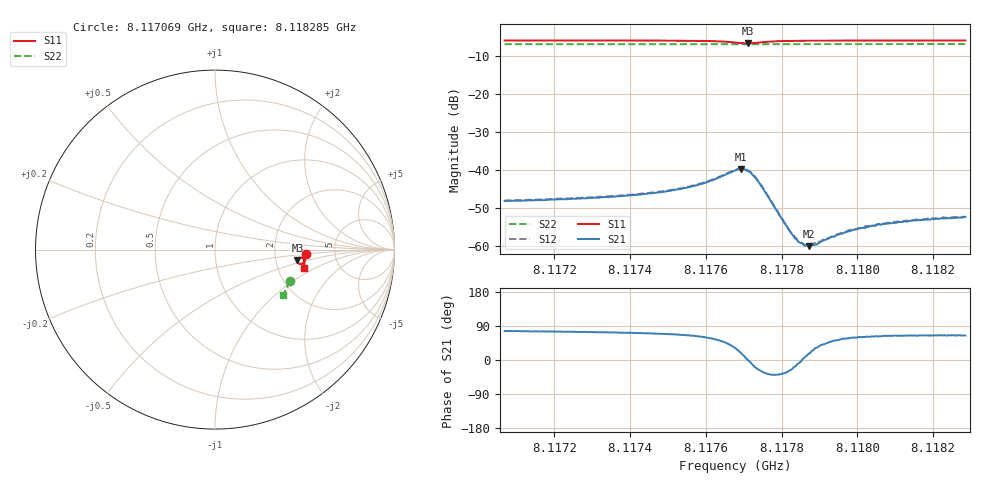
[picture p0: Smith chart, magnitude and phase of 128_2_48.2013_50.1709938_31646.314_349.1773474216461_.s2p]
#  HZ  S  RI  R  50.00
! Rohde & Schwarz Vector Network Analyzer
! Rohde-Schwarz,ZNB20-2Port,1311601062101988,3.16
! Created: UTC 3/20/2024, 11:41:47 AM
! freq[Hz]  re:S11  im:S11  re:S21  im:S21  re:S12  im:S12  re:S22  im:S22
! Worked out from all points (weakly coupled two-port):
!   401 points, 8.117069 GHz to 8.118285 GHz, reference 50 ohm
!   highest |S21| = -39.74 dB at 8.117692 GHz (marker M1); lowest = -60.1 dB at 8.117872 GHz (marker M2)
!   lowest |S11| = -6.7 dB at 8.117711 GHz (marker M3), VSWR 2.72, Z = 133 - j20 ohm
!   |S11| at or under -10 dB: nowhere
!   |S22| runs from -6.9 to -6.8 dB; largest |S21 - S12| = 0.00038
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8.1170688e9  0.5057 -0.0224  0.000929 0.00378  0.001 0.00386  0.416 -0.1741
8.1172726e9  0.504 -0.039  0.00118 0.00407  0.00125 0.00415  0.4106 -0.1875
8.1174764e9  0.5006 -0.0576  0.0018 0.00474  0.00185 0.00482  0.405 -0.2005
8.1175829e9  0.495 -0.0705  0.00301 0.00568  0.00314 0.00577  0.4017 -0.2074
8.1176254e9  0.4887 -0.0771  0.00438 0.00619  0.00452 0.00625  0.4001 -0.2102
8.1176772e9  0.4691 -0.0789  0.00836 0.00521  0.0086 0.00515  0.3978 -0.2131
8.1176924e9  0.4618 -0.0725  0.00972 0.00341  0.00991 0.00334  0.397 -0.2139
8.1177106e9  0.459 -0.0591  0.00968 2.21e-05  0.00991 6.13e-05  0.3967 -0.2142
8.1177258e9  0.4647 -0.0488  0.00817 -0.00213  0.00832 -0.00236  0.3966 -0.2147
8.117738e9  0.4719 -0.0448  0.00645 -0.00296  0.00655 -0.00304  0.3966 -0.2153
8.1178171e9  0.4955 -0.0566  0.00146 -0.000861  0.00145 -0.000915  0.3953 -0.2209
8.1178292e9  0.4964 -0.0589  0.00128 -0.000536  0.00132 -0.000565  0.3947 -0.2218
8.1178414e9  0.4972 -0.061  0.00117 -0.000238  0.00116 -0.000268  0.3944 -0.2226
8.1178566e9  0.4976 -0.0633  0.00107 5.73e-05  0.00106 4.23e-05  0.3939 -0.2234
8.1178718e9  0.4981 -0.0656  0.000949 0.000292  0.000995 0.000307  0.3935 -0.2246
8.1178809e9  0.4983 -0.0669  0.000938 0.000429  0.000944 0.000429  0.3932 -0.2251
8.1178992e9  0.4984 -0.0693  0.000877 0.000655  0.000899 0.000705  0.3925 -0.2263
8.1179296e9  0.4985 -0.0728  0.000876 0.000953  0.000903 0.000955  0.3915 -0.2283
8.1179844e9  0.4982 -0.0787  0.000828 0.00136  0.000868 0.00139  0.3897 -0.2315
8.1180847e9  0.497 -0.0878  0.000873 0.00179  0.000892 0.00181  0.3864 -0.238
8.1181912e9  0.4954 -0.0969  0.00094 0.00199  0.000998 0.00202  0.3827 -0.2444
8.1182855e9  0.4941 -0.1043  0.00103 0.00217  0.00106 0.00219  0.3793 -0.2502
